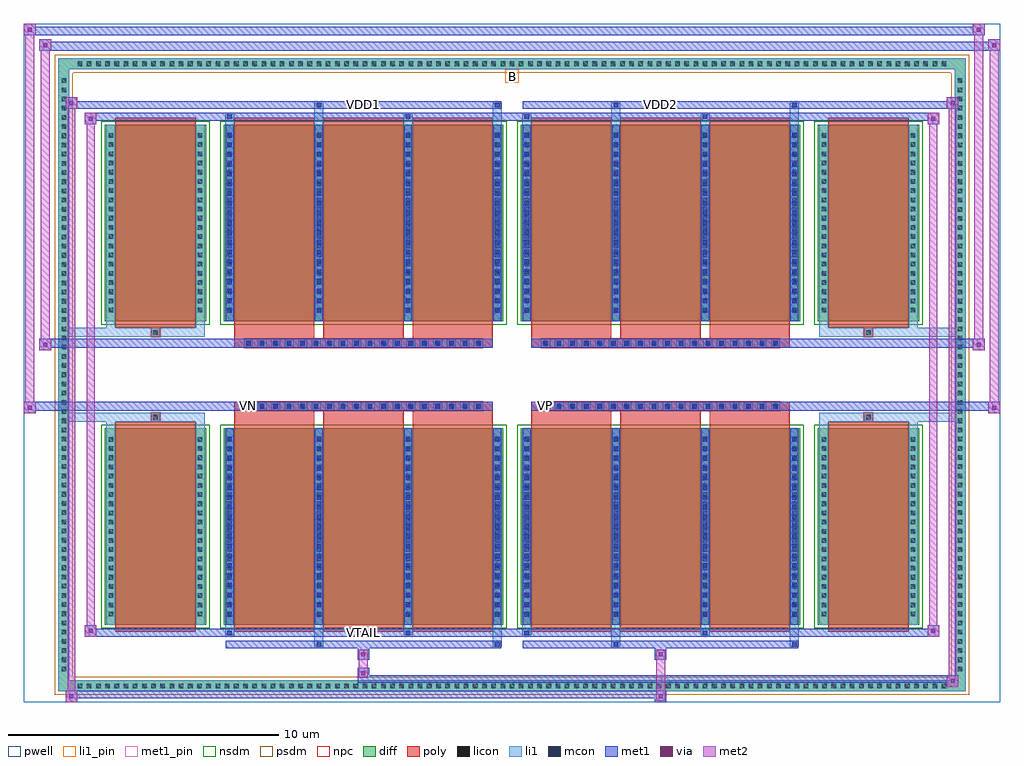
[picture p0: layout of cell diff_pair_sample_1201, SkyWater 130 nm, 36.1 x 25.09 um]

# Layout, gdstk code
import gdstk
lib = gdstk.Library(unit=1e-6, precision=5e-09)
def R(c, l, rs):  # rectangles x0, y0, x1, y1
    for r in rs: c.add(gdstk.rectangle(r[:2], r[2:], *l))
def A(c, l, x, y, w, h, nx, ny, dx, dy):  # array of equal rectangles
    R(c, l, [(x+i*dx, y+j*dy, x+i*dx+w, y+j*dy+h) for i in range(nx) for j in range(ny)])
def P(c, l, *ps):  # polygons
    for p in ps: c.add(gdstk.Polygon(p, *l))
pwell = (64, 44)
diff = (65, 20)
poly = (66, 20)
licon = (66, 44)
li1_pin = (67, 16)
li1 = (67, 20)
mcon = (67, 44)
met1_pin = (68, 16)
met1 = (68, 20)
via = (68, 44)
met2 = (69, 20)
nsdm = (93, 44)
psdm = (94, 20)
npc = (95, 20)

diff_pair_sample_1201 = lib.new_cell('diff_pair_sample_1201')
R(diff_pair_sample_1201, pwell, [(-18.05,-12.11,18.05,12.98), (-15.37,-10.3,-0.01,-0.8), (0.01,-10.3,15.37,-0.8), (-15.37,0.8,-0.01,10.3), (0.01,0.8,15.37,10.3)])
A(diff_pair_sample_1201, diff, -16.185, -11.71, 0.41, 0.41, 95, 2, 0.34, 23.01)
A(diff_pair_sample_1201, diff, -16.78, -11.085, 0.41, 0.41, 1, 65, 0, 0.34)
A(diff_pair_sample_1201, diff, 16.37, -11.085, 0.41, 0.41, 1, 65, 0, 0.34)
R(diff_pair_sample_1201, diff, [(-16.185,-11.71,16.185,-11.3), (-16.78,-11.085,-16.37,11.085), (16.37,-11.085,16.78,11.085), (-15.06,-9.255,-11.31,-1.985), (-10.67,-9.255,-0.32,-1.985), (0.32,-9.255,10.67,-1.985), (11.31,-9.255,15.06,-1.985), (-15.06,1.985,-11.31,9.255), (-10.67,1.985,-0.32,9.255), (0.32,1.985,10.67,9.255), (11.31,1.985,15.06,9.255), (-16.185,11.3,16.185,11.71)])
P(diff_pair_sample_1201, diff, [(16.78,11.71),(-16.78,11.71),(-16.78,-11.3),(-16.37,-11.3),(-16.37,11.3),(16.37,11.3),(16.37,-11.3),(-16.37,-11.3),(-16.78,-11.3),(-16.78,-11.71),(16.78,-11.71)])
A(diff_pair_sample_1201, poly, -10.28, -9.505, 2.97, 7.77, 3, 2, 3.3, 11.24)
A(diff_pair_sample_1201, poly, 0.71, -9.505, 2.97, 7.77, 3, 2, 3.3, 11.24)
A(diff_pair_sample_1201, poly, -10.28, -1.735, 2.97, 0.405, 3, 2, 3.3, 3.065)
A(diff_pair_sample_1201, poly, 0.71, -1.735, 2.97, 0.405, 3, 2, 3.3, 3.065)
A(diff_pair_sample_1201, poly, -9.91, -1.33, 0.33, 0.33, 18, 2, 0.5, 2.33)
A(diff_pair_sample_1201, poly, 1.08, -1.33, 0.33, 0.33, 18, 2, 0.5, 2.33)
R(diff_pair_sample_1201, poly, [(-14.67,-9.505,-11.7,-1.735), (11.7,-9.505,14.67,-1.735), (-13.35,-1.735,-13.02,-1.405), (-13.35,-1.735,-13.02,-1.405), (13.02,-1.735,13.35,-1.405), (13.02,-1.735,13.35,-1.405), (-10.28,-1.33,-0.71,-1), (0.71,-1.33,10.28,-1), (-10.28,1,-0.71,1.33), (0.71,1,10.28,1.33), (-13.35,1.405,-13.02,1.735), (-13.35,1.405,-13.02,1.735), (13.02,1.405,13.35,1.735), (13.02,1.405,13.35,1.735), (-14.67,1.735,-11.7,9.505), (11.7,1.735,14.67,9.505)])
A(diff_pair_sample_1201, licon, -16.065, -11.59, 0.17, 0.17, 95, 2, 0.34, 23.01)
A(diff_pair_sample_1201, licon, -16.66, -10.965, 0.17, 0.17, 1, 65, 0, 0.34)
A(diff_pair_sample_1201, licon, 16.49, -10.965, 0.17, 0.17, 1, 65, 0, 0.34)
A(diff_pair_sample_1201, licon, -14.92, -8.935, 0.17, 0.17, 1, 20, 0, 0.34)
A(diff_pair_sample_1201, licon, -11.62, -8.935, 0.17, 0.17, 1, 20, 0, 0.34)
A(diff_pair_sample_1201, licon, -10.53, -8.935, 0.17, 0.17, 4, 20, 3.3, 0.34)
A(diff_pair_sample_1201, licon, 0.46, -8.935, 0.17, 0.17, 4, 20, 3.3, 0.34)
A(diff_pair_sample_1201, licon, 11.45, -8.935, 0.17, 0.17, 1, 20, 0, 0.34)
A(diff_pair_sample_1201, licon, 14.75, -8.935, 0.17, 0.17, 1, 20, 0, 0.34)
A(diff_pair_sample_1201, licon, -9.83, -1.25, 0.17, 0.17, 18, 2, 0.5, 2.33)
A(diff_pair_sample_1201, licon, 1.16, -1.25, 0.17, 0.17, 18, 2, 0.5, 2.33)
A(diff_pair_sample_1201, licon, -14.92, 2.305, 0.17, 0.17, 1, 20, 0, 0.34)
A(diff_pair_sample_1201, licon, -11.62, 2.305, 0.17, 0.17, 1, 20, 0, 0.34)
A(diff_pair_sample_1201, licon, -10.53, 2.305, 0.17, 0.17, 4, 20, 3.3, 0.34)
A(diff_pair_sample_1201, licon, 0.46, 2.305, 0.17, 0.17, 4, 20, 3.3, 0.34)
A(diff_pair_sample_1201, licon, 11.45, 2.305, 0.17, 0.17, 1, 20, 0, 0.34)
A(diff_pair_sample_1201, licon, 14.75, 2.305, 0.17, 0.17, 1, 20, 0, 0.34)
R(diff_pair_sample_1201, licon, [(-13.27,-1.655,-13.1,-1.485), (13.1,-1.655,13.27,-1.485), (-13.27,1.485,-13.1,1.655), (13.1,1.485,13.27,1.655)])
R(diff_pair_sample_1201, li1_pin, [(-0.25,10.8,0.25,11.3)])
A(diff_pair_sample_1201, li1, -16.145, -11.67, 0.33, 0.33, 95, 2, 0.34, 23.01)
A(diff_pair_sample_1201, li1, -16.74, -11.045, 0.33, 0.33, 1, 65, 0, 0.34)
A(diff_pair_sample_1201, li1, 16.41, -11.045, 0.33, 0.33, 1, 65, 0, 0.34)
A(diff_pair_sample_1201, li1, -10.61, -9.255, 0.33, 7.27, 4, 2, 3.3, 11.24)
A(diff_pair_sample_1201, li1, 0.38, -9.255, 0.33, 7.27, 4, 2, 3.3, 11.24)
A(diff_pair_sample_1201, li1, -15, -9.015, 0.33, 0.33, 1, 20, 0, 0.34)
A(diff_pair_sample_1201, li1, -11.7, -9.015, 0.33, 0.33, 1, 20, 0, 0.34)
A(diff_pair_sample_1201, li1, -10.61, -9.015, 0.33, 0.33, 4, 20, 3.3, 0.34)
A(diff_pair_sample_1201, li1, 0.38, -9.015, 0.33, 0.33, 4, 20, 3.3, 0.34)
A(diff_pair_sample_1201, li1, 11.37, -9.015, 0.33, 0.33, 1, 20, 0, 0.34)
A(diff_pair_sample_1201, li1, 14.67, -9.015, 0.33, 0.33, 1, 20, 0, 0.34)
A(diff_pair_sample_1201, li1, -10.53, -8.945, 0.17, 0.17, 4, 19, 3.3, 0.36)
A(diff_pair_sample_1201, li1, -10.53, -8.945, 0.17, 6.65, 4, 2, 3.3, 11.24)
A(diff_pair_sample_1201, li1, 0.46, -8.945, 0.17, 0.17, 4, 19, 3.3, 0.36)
A(diff_pair_sample_1201, li1, 0.46, -8.945, 0.17, 6.65, 4, 2, 3.3, 11.24)
A(diff_pair_sample_1201, li1, -9.91, -1.33, 0.33, 0.33, 18, 2, 0.5, 2.33)
A(diff_pair_sample_1201, li1, 1.08, -1.33, 0.33, 0.33, 18, 2, 0.5, 2.33)
A(diff_pair_sample_1201, li1, -15, 2.225, 0.33, 0.33, 1, 20, 0, 0.34)
A(diff_pair_sample_1201, li1, -11.7, 2.225, 0.33, 0.33, 1, 20, 0, 0.34)
A(diff_pair_sample_1201, li1, -10.61, 2.225, 0.33, 0.33, 4, 20, 3.3, 0.34)
A(diff_pair_sample_1201, li1, 0.38, 2.225, 0.33, 0.33, 4, 20, 3.3, 0.34)
A(diff_pair_sample_1201, li1, 11.37, 2.225, 0.33, 0.33, 1, 20, 0, 0.34)
A(diff_pair_sample_1201, li1, 14.67, 2.225, 0.33, 0.33, 1, 20, 0, 0.34)
A(diff_pair_sample_1201, li1, -10.53, 2.295, 0.17, 0.17, 4, 19, 3.3, 0.36)
A(diff_pair_sample_1201, li1, 0.46, 2.295, 0.17, 0.17, 4, 19, 3.3, 0.36)
R(diff_pair_sample_1201, li1, [(-16.78,-11.71,-16.37,-11.3), (-16.78,-11.71,-16.37,-11.3), (-16.37,-11.71,16.37,-11.3), (16.37,-11.71,16.78,-11.3), (16.37,-11.71,16.78,-11.3), (-16.78,-11.3,-16.37,11.3), (16.37,-11.3,16.78,11.3), (-7.31,-10.06,-6.98,-9.255), (-7.23,-10.06,-7.06,-9.89), (-0.71,-10.06,-0.38,-9.255), (-0.63,-10.06,-0.46,-9.89), (3.68,-10.06,4.01,-9.255), (3.76,-10.06,3.93,-9.89), (10.28,-10.06,10.61,-9.255), (10.36,-10.06,10.53,-9.89), (-10.61,-9.63,-10.28,-9.255), (-10.53,-9.63,-10.36,-9.46), (-4.01,-9.63,-3.68,-9.255), (-3.93,-9.63,-3.76,-9.46), (0.38,-9.63,0.71,-9.255), (0.46,-9.63,0.63,-9.46), (6.98,-9.63,7.31,-9.255), (7.06,-9.63,7.23,-9.46), (-15,-9.255,-14.67,-1.985), (-11.7,-9.255,-11.37,-1.985), (11.37,-9.255,11.7,-1.985), (14.67,-9.255,15,-1.985), (-15,-1.985,-14.67,-1.405), (-11.7,-1.985,-11.37,-1.405), (11.37,-1.985,11.7,-1.405), (14.67,-1.985,15,-1.405), (-16.78,-1.735,-13.35,-1.405), (-15,-1.735,-13.35,-1.405), (-13.35,-1.735,-13.02,-1.405), (-13.02,-1.735,-11.37,-1.405), (11.37,-1.735,13.02,-1.405), (13.02,-1.735,13.35,-1.405), (13.02,-1.735,16.78,-1.405), (13.35,-1.735,15,-1.405), (-16.78,1.405,-13.35,1.735), (-15,1.405,-13.35,1.735), (-15,1.405,-14.67,1.985), (-13.35,1.405,-13.02,1.735), (-13.02,1.405,-11.37,1.735), (-11.7,1.405,-11.37,1.985), (11.37,1.405,13.02,1.735), (11.37,1.405,11.7,1.985), (13.02,1.405,13.35,1.735), (13.02,1.405,16.78,1.735), (13.35,1.405,15,1.735), (14.67,1.405,15,1.985), (-15,1.985,-14.67,9.255), (-11.7,1.985,-11.37,9.255), (11.37,1.985,11.7,9.255), (14.67,1.985,15,9.255), (-10.61,9.255,-10.28,9.63), (-7.31,9.255,-6.98,10.06), (-4.01,9.255,-3.68,9.63), (-0.71,9.255,-0.38,10.06), (0.38,9.255,0.71,9.63), (3.68,9.255,4.01,10.06), (6.98,9.255,7.31,9.63), (10.28,9.255,10.61,10.06), (-10.53,9.46,-10.36,9.63), (-3.93,9.46,-3.76,9.63), (0.46,9.46,0.63,9.63), (7.06,9.46,7.23,9.63), (-7.23,9.89,-7.06,10.06), (-0.63,9.89,-0.46,10.06), (3.76,9.89,3.93,10.06), (10.36,9.89,10.53,10.06), (-16.78,11.3,-16.37,11.71), (-16.78,11.3,-16.37,11.71), (-16.37,11.3,16.37,11.71), (16.37,11.3,16.78,11.71), (16.37,11.3,16.78,11.71)])
A(diff_pair_sample_1201, mcon, -10.53, -8.945, 0.17, 0.17, 4, 19, 3.3, 0.36)
A(diff_pair_sample_1201, mcon, 0.46, -8.945, 0.17, 0.17, 4, 19, 3.3, 0.36)
A(diff_pair_sample_1201, mcon, -9.83, -1.25, 0.17, 0.17, 18, 2, 0.5, 2.33)
A(diff_pair_sample_1201, mcon, 1.16, -1.25, 0.17, 0.17, 18, 2, 0.5, 2.33)
A(diff_pair_sample_1201, mcon, -10.53, 2.295, 0.17, 0.17, 4, 19, 3.3, 0.36)
A(diff_pair_sample_1201, mcon, 0.46, 2.295, 0.17, 0.17, 4, 19, 3.3, 0.36)
R(diff_pair_sample_1201, mcon, [(-7.23,-10.06,-7.06,-9.89), (-0.63,-10.06,-0.46,-9.89), (3.76,-10.06,3.93,-9.89), (10.36,-10.06,10.53,-9.89), (-10.53,-9.63,-10.36,-9.46), (-3.93,-9.63,-3.76,-9.46), (0.46,-9.63,0.63,-9.46), (7.06,-9.63,7.23,-9.46), (-10.53,9.46,-10.36,9.63), (-3.93,9.46,-3.76,9.63), (0.46,9.46,0.63,9.63), (7.06,9.46,7.23,9.63), (-7.23,9.89,-7.06,10.06), (-0.63,9.89,-0.46,10.06), (3.76,9.89,3.93,10.06), (10.36,9.89,10.53,10.06)])
R(diff_pair_sample_1201, met1_pin, [(-5.63,-9.67,-5.36,-9.4), (-9.88,-1.29,-9.61,-1.02), (1.11,-1.29,1.38,-1.02), (-5.63,9.85,-5.36,10.12), (5.36,9.85,5.63,10.12)])
A(diff_pair_sample_1201, met1, -10.59, -9.255, 0.29, 7.27, 4, 2, 3.3, 11.24)
A(diff_pair_sample_1201, met1, 0.4, -9.255, 0.29, 7.27, 4, 2, 3.3, 11.24)
A(diff_pair_sample_1201, met1, -10.59, -9.005, 0.29, 0.29, 4, 19, 3.3, 0.36)
A(diff_pair_sample_1201, met1, 0.4, -9.005, 0.29, 0.29, 4, 19, 3.3, 0.36)
A(diff_pair_sample_1201, met1, -9.89, -1.31, 0.29, 0.29, 18, 2, 0.5, 2.33)
A(diff_pair_sample_1201, met1, 1.1, -1.31, 0.29, 0.29, 18, 2, 0.5, 2.33)
A(diff_pair_sample_1201, met1, -10.59, 2.235, 0.29, 0.29, 4, 19, 3.3, 0.36)
A(diff_pair_sample_1201, met1, 0.4, 2.235, 0.29, 0.29, 4, 19, 3.3, 0.36)
R(diff_pair_sample_1201, met1, [(-16.51,-12.11,-16.08,-11.68), (5.28,-12.11,5.71,-11.68), (-16.51,-11.97,5.71,-11.68), (16.08,-11.54,16.51,-11.11), (-5.71,-11.4,16.51,-11.11), (-5.71,-11.26,-5.28,-10.83), (-5.71,-10.55,-5.28,-10.12), (5.28,-10.55,5.71,-10.12), (-10.59,-10.12,-0.4,-9.83), (-7.29,-10.12,-7,-9.83), (-0.69,-10.12,-0.4,-9.83), (0.4,-10.12,10.59,-9.83), (3.7,-10.12,3.99,-9.83), (10.3,-10.12,10.59,-9.83), (-15.8,-9.69,-15.37,-9.26), (-15.8,-9.69,-10.59,-9.4), (-10.59,-9.69,-10.3,-9.4), (-10.59,-9.69,-0.4,-9.4), (-3.99,-9.69,-3.7,-9.4), (-0.4,-9.69,0.4,-9.4), (0.4,-9.69,0.69,-9.4), (0.4,-9.69,10.59,-9.4), (7,-9.69,7.29,-9.4), (10.59,-9.69,15.8,-9.4), (15.37,-9.69,15.8,-9.26), (-18.05,-1.43,-17.62,-1), (17.62,-1.43,18.05,-1), (-18.05,-1.33,-0.71,-1), (-10.28,-1.33,-0.71,-1), (0.71,-1.33,10.28,-1), (0.71,-1.33,18.05,-1), (-17.48,0.9,-17.05,1.33), (17.05,0.9,17.48,1.33), (-17.48,1,-10.28,1.33), (-10.28,1,-0.71,1.33), (0.71,1,10.28,1.33), (10.28,1,17.48,1.33), (-15.8,9.26,-15.37,9.69), (15.37,9.26,15.8,9.69), (-15.8,9.4,-10.59,9.69), (-10.59,9.4,-10.3,9.69), (-10.59,9.4,-0.4,9.69), (-3.99,9.4,-3.7,9.69), (-0.4,9.4,0.4,9.69), (0.4,9.4,0.69,9.69), (0.4,9.4,10.59,9.69), (7,9.4,7.29,9.69), (10.59,9.4,15.8,9.69), (-16.51,9.83,-16.08,10.26), (-16.51,9.83,-10.59,10.12), (-10.59,9.83,-0.4,10.12), (-7.29,9.83,-7,10.12), (-0.69,9.83,-0.4,10.12), (0.4,9.83,10.59,10.12), (3.7,9.83,3.99,10.12), (10.3,9.83,10.59,10.12), (10.59,9.83,16.51,10.12), (16.08,9.83,16.51,10.26), (-17.48,11.98,-17.05,12.41), (-17.48,11.98,-15.37,12.31), (-15.37,11.98,15.37,12.31), (15.37,11.98,18.05,12.31), (17.62,11.98,18.05,12.41), (-18.05,12.55,-17.62,12.98), (-18.05,12.55,-15.37,12.88), (-15.37,12.55,15.37,12.88), (15.37,12.55,17.48,12.88), (17.05,12.55,17.48,12.98)])
R(diff_pair_sample_1201, via, [(-16.37,-11.97,-16.22,-11.82), (5.42,-11.97,5.57,-11.82), (16.22,-11.4,16.37,-11.25), (-5.57,-11.12,-5.42,-10.97), (-5.57,-10.41,-5.42,-10.26), (5.42,-10.41,5.57,-10.26), (-15.66,-9.55,-15.51,-9.4), (15.51,-9.55,15.66,-9.4), (-17.91,-1.29,-17.76,-1.14), (17.76,-1.29,17.91,-1.14), (-17.34,1.04,-17.19,1.19), (17.19,1.04,17.34,1.19), (-15.66,9.4,-15.51,9.55), (15.51,9.4,15.66,9.55), (-16.37,9.97,-16.22,10.12), (16.22,9.97,16.37,10.12), (-17.34,12.12,-17.19,12.27), (17.76,12.12,17.91,12.27), (-17.91,12.69,-17.76,12.84), (17.19,12.69,17.34,12.84)])
R(diff_pair_sample_1201, met2, [(-16.51,-12.11,-16.08,-11.68), (-16.44,-12.11,-16.15,10.26), (-16.15,-12.11,-16.08,-11.68), (-16.46,-12.06,-16.13,-11.73), (5.33,-12.06,5.66,-11.73), (5.33,-11.73,5.66,-10.5), (16.08,-11.54,16.51,-11.11), (16.15,-11.54,16.44,10.26), (16.44,-11.54,16.51,-11.11), (16.13,-11.49,16.46,-11.16), (-5.66,-11.21,-5.33,-10.88), (-5.66,-10.88,-5.33,-10.5), (-5.66,-10.5,-5.33,-10.17), (5.33,-10.5,5.66,-10.17), (-15.8,-9.69,-15.37,-9.26), (-15.73,-9.69,-15.44,9.69), (-15.44,-9.69,-15.37,-9.26), (15.37,-9.69,15.8,-9.26), (15.44,-9.69,15.73,9.69), (15.73,-9.69,15.8,-9.26), (-15.75,-9.64,-15.42,-9.31), (15.42,-9.64,15.75,-9.31), (-18.05,-1.43,-17.62,-1), (-18,-1.43,-17.67,12.98), (-17.67,-1.43,-17.62,-1), (17.62,-1.43,18.05,-1), (17.67,-1.43,18,12.41), (18,-1.43,18.05,-1), (-18,-1.38,-17.67,-1.05), (17.67,-1.38,18,-1.05), (-17.48,0.9,-17.05,1.33), (-17.43,0.9,-17.1,12.41), (-17.1,0.9,-17.05,1.33), (17.05,0.9,17.48,1.33), (17.1,0.9,17.43,12.98), (17.43,0.9,17.48,1.33), (-17.43,0.95,-17.1,1.28), (17.1,0.95,17.43,1.28), (-15.8,9.26,-15.37,9.69), (-15.44,9.26,-15.37,9.69), (15.37,9.26,15.8,9.69), (15.73,9.26,15.8,9.69), (-15.75,9.31,-15.42,9.64), (15.42,9.31,15.75,9.64), (-16.51,9.83,-16.08,10.26), (-16.15,9.83,-16.08,10.26), (16.08,9.83,16.51,10.26), (16.44,9.83,16.51,10.26), (-16.46,9.88,-16.13,10.21), (16.13,9.88,16.46,10.21), (-17.48,11.98,-17.05,12.41), (-17.1,11.98,-17.05,12.41), (17.62,11.98,18.05,12.41), (18,11.98,18.05,12.41), (-17.43,12.03,-17.1,12.36), (17.67,12.03,18,12.36), (-18.05,12.55,-17.62,12.98), (-17.67,12.55,-17.62,12.98), (17.05,12.55,17.48,12.98), (17.43,12.55,17.48,12.98), (-18,12.6,-17.67,12.93), (17.1,12.6,17.43,12.93)])
R(diff_pair_sample_1201, nsdm, [(-15.19,-9.385,-11.18,-1.855), (-10.8,-9.385,-0.19,-1.855), (0.19,-9.385,10.8,-1.855), (11.18,-9.385,15.19,-1.855), (-15.19,1.855,-11.18,9.385), (-10.8,1.855,-0.19,9.385), (0.19,1.855,10.8,9.385), (11.18,1.855,15.19,9.385)])
P(diff_pair_sample_1201, psdm, [(16.91,11.84),(-16.91,11.84),(-16.91,-11.17),(-16.24,-11.17),(-16.24,11.17),(16.24,11.17),(16.24,-11.17),(-16.24,-11.17),(-16.91,-11.17),(-16.91,-11.84),(16.91,-11.84)])
A(diff_pair_sample_1201, npc, -9.93, -1.35, 0.37, 0.37, 18, 2, 0.5, 2.33)
A(diff_pair_sample_1201, npc, 1.06, -1.35, 0.37, 0.37, 18, 2, 0.5, 2.33)
R(diff_pair_sample_1201, npc, [(-13.37,-1.755,-13,-1.385), (13,-1.755,13.37,-1.385), (-9.93,-1.35,-9.06,-0.98), (-9.93,-1.35,-9.06,-0.98), (-9.43,-1.35,-8.56,-0.98), (-9.43,-1.35,-8.56,-0.98), (-8.93,-1.35,-8.06,-0.98), (-8.93,-1.35,-8.06,-0.98), (-8.43,-1.35,-7.56,-0.98), (-8.43,-1.35,-7.56,-0.98), (-7.93,-1.35,-7.06,-0.98), (-7.93,-1.35,-7.06,-0.98), (-7.43,-1.35,-6.56,-0.98), (-7.43,-1.35,-6.56,-0.98), (-6.93,-1.35,-6.06,-0.98), (-6.93,-1.35,-6.06,-0.98), (-6.43,-1.35,-5.56,-0.98), (-6.43,-1.35,-5.56,-0.98), (-5.93,-1.35,-5.06,-0.98), (-5.93,-1.35,-5.06,-0.98), (-5.43,-1.35,-4.56,-0.98), (-5.43,-1.35,-4.56,-0.98), (-4.93,-1.35,-4.06,-0.98), (-4.93,-1.35,-4.06,-0.98), (-4.43,-1.35,-3.56,-0.98), (-4.43,-1.35,-3.56,-0.98), (-3.93,-1.35,-3.06,-0.98), (-3.93,-1.35,-3.06,-0.98), (-3.43,-1.35,-2.56,-0.98), (-3.43,-1.35,-2.56,-0.98), (-2.93,-1.35,-2.06,-0.98), (-2.93,-1.35,-2.06,-0.98), (-2.43,-1.35,-1.56,-0.98), (-2.43,-1.35,-1.56,-0.98), (-1.93,-1.35,-1.06,-0.98), (-1.93,-1.35,-1.06,-0.98), (1.06,-1.35,1.93,-0.98), (1.06,-1.35,1.93,-0.98), (1.56,-1.35,2.43,-0.98), (1.56,-1.35,2.43,-0.98), (2.06,-1.35,2.93,-0.98), (2.06,-1.35,2.93,-0.98), (2.56,-1.35,3.43,-0.98), (2.56,-1.35,3.43,-0.98), (3.06,-1.35,3.93,-0.98), (3.06,-1.35,3.93,-0.98), (3.56,-1.35,4.43,-0.98), (3.56,-1.35,4.43,-0.98), (4.06,-1.35,4.93,-0.98), (4.06,-1.35,4.93,-0.98), (4.56,-1.35,5.43,-0.98), (4.56,-1.35,5.43,-0.98), (5.06,-1.35,5.93,-0.98), (5.06,-1.35,5.93,-0.98), (5.56,-1.35,6.43,-0.98), (5.56,-1.35,6.43,-0.98), (6.06,-1.35,6.93,-0.98), (6.06,-1.35,6.93,-0.98), (6.56,-1.35,7.43,-0.98), (6.56,-1.35,7.43,-0.98), (7.06,-1.35,7.93,-0.98), (7.06,-1.35,7.93,-0.98), (7.56,-1.35,8.43,-0.98), (7.56,-1.35,8.43,-0.98), (8.06,-1.35,8.93,-0.98), (8.06,-1.35,8.93,-0.98), (8.56,-1.35,9.43,-0.98), (8.56,-1.35,9.43,-0.98), (9.06,-1.35,9.93,-0.98), (9.06,-1.35,9.93,-0.98), (-9.93,0.98,-9.06,1.35), (-9.93,0.98,-9.06,1.35), (-9.43,0.98,-8.56,1.35), (-9.43,0.98,-8.56,1.35), (-8.93,0.98,-8.06,1.35), (-8.93,0.98,-8.06,1.35), (-8.43,0.98,-7.56,1.35), (-8.43,0.98,-7.56,1.35), (-7.93,0.98,-7.06,1.35), (-7.93,0.98,-7.06,1.35), (-7.43,0.98,-6.56,1.35), (-7.43,0.98,-6.56,1.35), (-6.93,0.98,-6.06,1.35), (-6.93,0.98,-6.06,1.35), (-6.43,0.98,-5.56,1.35), (-6.43,0.98,-5.56,1.35), (-5.93,0.98,-5.06,1.35), (-5.93,0.98,-5.06,1.35), (-5.43,0.98,-4.56,1.35), (-5.43,0.98,-4.56,1.35), (-4.93,0.98,-4.06,1.35), (-4.93,0.98,-4.06,1.35), (-4.43,0.98,-3.56,1.35), (-4.43,0.98,-3.56,1.35), (-3.93,0.98,-3.06,1.35), (-3.93,0.98,-3.06,1.35), (-3.43,0.98,-2.56,1.35), (-3.43,0.98,-2.56,1.35), (-2.93,0.98,-2.06,1.35), (-2.93,0.98,-2.06,1.35), (-2.43,0.98,-1.56,1.35), (-2.43,0.98,-1.56,1.35), (-1.93,0.98,-1.06,1.35), (-1.93,0.98,-1.06,1.35), (1.06,0.98,1.93,1.35), (1.06,0.98,1.93,1.35), (1.56,0.98,2.43,1.35), (1.56,0.98,2.43,1.35), (2.06,0.98,2.93,1.35), (2.06,0.98,2.93,1.35), (2.56,0.98,3.43,1.35), (2.56,0.98,3.43,1.35), (3.06,0.98,3.93,1.35), (3.06,0.98,3.93,1.35), (3.56,0.98,4.43,1.35), (3.56,0.98,4.43,1.35), (4.06,0.98,4.93,1.35), (4.06,0.98,4.93,1.35), (4.56,0.98,5.43,1.35), (4.56,0.98,5.43,1.35), (5.06,0.98,5.93,1.35), (5.06,0.98,5.93,1.35), (5.56,0.98,6.43,1.35), (5.56,0.98,6.43,1.35), (6.06,0.98,6.93,1.35), (6.06,0.98,6.93,1.35), (6.56,0.98,7.43,1.35), (6.56,0.98,7.43,1.35), (7.06,0.98,7.93,1.35), (7.06,0.98,7.93,1.35), (7.56,0.98,8.43,1.35), (7.56,0.98,8.43,1.35), (8.06,0.98,8.93,1.35), (8.06,0.98,8.93,1.35), (8.56,0.98,9.43,1.35), (8.56,0.98,9.43,1.35), (9.06,0.98,9.93,1.35), (9.06,0.98,9.93,1.35), (-13.37,1.385,-13,1.755), (13,1.385,13.37,1.755)])
diff_pair_sample_1201.add(gdstk.Label('VTAIL', (-5.495,-9.535), layer=68, texttype=5))
diff_pair_sample_1201.add(gdstk.Label('VN', (-9.745,-1.155), layer=68, texttype=5))
diff_pair_sample_1201.add(gdstk.Label('VP', (1.245,-1.155), layer=68, texttype=5))
diff_pair_sample_1201.add(gdstk.Label('B', (0,11.05), layer=67, texttype=5))
diff_pair_sample_1201.add(gdstk.Label('VDD2', (5.495,9.985), layer=68, texttype=5))
diff_pair_sample_1201.add(gdstk.Label('VDD1', (-5.495,9.985), layer=68, texttype=5))

lib.write_gds('diff_pair_sample_1201.gds')
